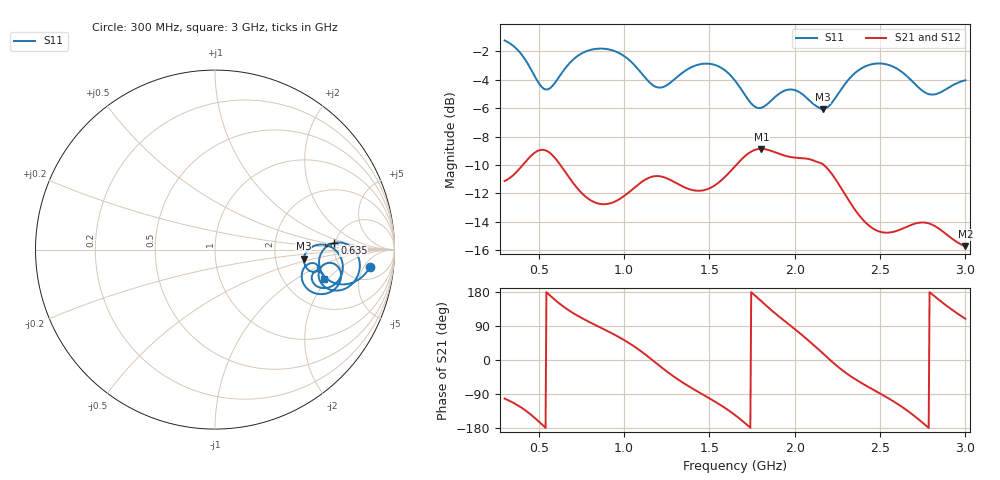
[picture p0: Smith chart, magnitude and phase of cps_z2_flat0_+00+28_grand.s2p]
! cps_z2_flat0_+00+28_grand
! simulated by sim/fixtures_fdtd.py (S12 = S21, S22 not computed)
# HZ S RI R 50
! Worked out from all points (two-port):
!   541 points, 300 MHz to 3 GHz, reference 50 ohm
!   highest |S21| = -8.86 dB at 1.805 GHz (marker M1); lowest = -15.7 dB at 3 GHz (marker M2)
!   |S21| within 3 dB of the highest: start of sweep to 742.6 MHz; 1.034 GHz to 2.284 GHz (1.25 GHz wide, 75.3 % of centre)
!   lowest |S11| = -6.1 dB at 2.165 GHz (marker M3), VSWR 2.98, Z = 146 - j19.7 ohm
!   |S11| at or under -10 dB: nowhere
!   |S22| runs from - to - dB; largest |S21 - S12| = 0
!   S11 on the Smith chart (normalised r, x): 300 MHz: 9, -7; 635 MHz: 4.91, +0.66; 3 GHz: 3.34, -1.80
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3e8  0.8626 -0.099  -0.0565 -0.2719  -0.0565 -0.2719  0 0
4.2e8  0.7186 -0.1939  -0.2178 -0.2388  -0.2178 -0.2388  0 0
5.15e8  0.5871 -0.1116  -0.3502 -0.0718  -0.3502 -0.0718  0 0
6.35e8  0.6656 0.0373  -0.2524 0.1818  -0.2524 0.1818  0 0
7.5e8  0.7806 -0.00744  -0.0913 0.2353  -0.0913 0.2353  0 0
8.9e8  0.8002 -0.1319  0.0428 0.2261  0.0428 0.2261  0 0
1.03e9  0.7058 -0.2246  0.1813 0.1778  0.1813 0.1778  0 0
1.2e9  0.5775 -0.1331  0.2822 -0.0623  0.2822 -0.0623  0 0
1.395e9  0.6914 -0.104  0.0721 -0.2481  0.0721 -0.2481  0 0
1.52e9  0.6879 -0.1953  -0.0751 -0.2545  -0.0751 -0.2545  0 0
1.65e9  0.5762 -0.2473  -0.257 -0.1786  -0.257 -0.1786  0 0
1.735e9  0.4938 -0.1913  -0.349 -0.0188  -0.349 -0.0188  0 0
1.805e9  0.4903 -0.1128  -0.3254 0.155  -0.3254 0.155  0 0
1.95e9  0.5729 -0.0927  -0.0563 0.3353  -0.0563 0.3353  0 0
2.1e9  0.5133 -0.107  0.2384 0.2276  0.2384 0.2276  0 0
2.165e9  0.4948 -0.0509  0.3033 0.0954  0.3033 0.0954  0 0
2.315e9  0.6315 0.0213  0.1855 -0.1494  0.1855 -0.1494  0 0
2.43e9  0.7073 -0.0615  0.0638 -0.1837  0.0638 -0.1837  0 0
2.55e9  0.6923 -0.166  -0.0359 -0.1791  -0.0359 -0.1791  0 0
2.665e9  0.6067 -0.2147  -0.137 -0.1352  -0.137 -0.1352  0 0
2.775e9  0.5397 -0.1663  -0.1969 -0.0166  -0.1969 -0.0166  0 0
3e9  0.6068 -0.1636  -0.0527 0.155  -0.0527 0.155  0 0
